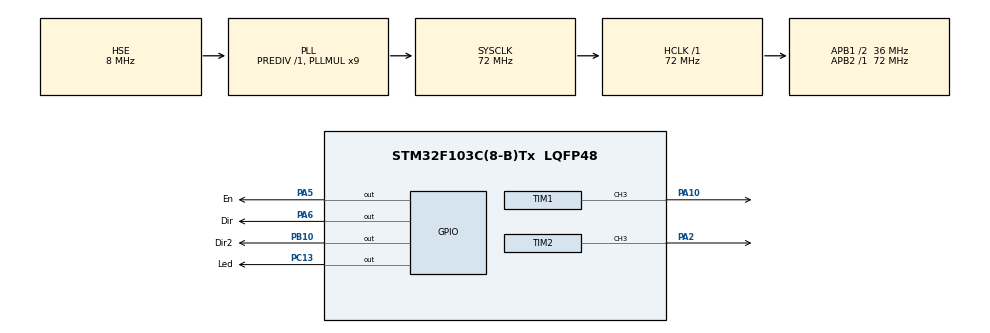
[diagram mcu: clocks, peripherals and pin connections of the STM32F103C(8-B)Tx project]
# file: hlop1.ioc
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Mcu.Family=STM32F1
Mcu.Name=STM32F103C(8-B)Tx
Mcu.Package=LQFP48
NVIC.PriorityGroup=NVIC_PRIORITYGROUP_4
NVIC.TIM1_UP_IRQn=true\:0\:0\:false\:false\:true\:true\:true\:true
NVIC.TIM2_IRQn=true\:0\:0\:false\:false\:true\:true\:true\:true
PA10.GPIO_Speed=GPIO_SPEED_FREQ_HIGH
PA10.Signal=S_TIM1_CH3
PA13.Mode=Serial_Wire
PA13.Signal=SYS_JTMS-SWDIO
PA14.Mode=Serial_Wire
PA14.Signal=SYS_JTCK-SWCLK
PA2.GPIO_Speed=GPIO_SPEED_FREQ_HIGH
PA2.Signal=S_TIM2_CH3
PA5.GPIO_Label=En
PA5.Signal=GPIO_Output
PA6.GPIO_Label=Dir
PA6.Signal=GPIO_Output
PB10.GPIO_Label=Dir2
PB10.Signal=GPIO_Output
PC13-TAMPER-RTC.GPIO_Label=Led
PC13-TAMPER-RTC.Signal=GPIO_Output
PD0-OSC_IN.Mode=HSE-External-Oscillator
PD0-OSC_IN.Signal=RCC_OSC_IN
PD1-OSC_OUT.Mode=HSE-External-Oscillator
PD1-OSC_OUT.Signal=RCC_OSC_OUT
ProjectManager.HeapSize=0x200
ProjectManager.StackSize=0x400
ProjectManager.TargetToolchain=STM32CubeIDE
RCC.AHBFreq_Value=72000000
RCC.APB1CLKDivider=RCC_HCLK_DIV2
RCC.APB1Freq_Value=36000000
RCC.APB1TimFreq_Value=72000000
RCC.APB2Freq_Value=72000000
RCC.APB2TimFreq_Value=72000000
RCC.HCLKFreq_Value=72000000
RCC.PLLMUL=RCC_PLL_MUL9
RCC.PLLSourceVirtual=RCC_PLLSOURCE_HSE
RCC.SYSCLKFreq_VALUE=72000000
RCC.SYSCLKSource=RCC_SYSCLKSOURCE_PLLCLK
RCC.USBFreq_Value=72000000
SH.S_TIM1_CH3.0=TIM1_CH3,PWM Generation3 CH3
SH.S_TIM2_CH3.0=TIM2_CH3,PWM Generation3 CH3
TIM1.Channel-PWM\ Generation3\ CH3=TIM_CHANNEL_3
TIM1.Period=1000-1
TIM1.Prescaler=8000-1
TIM2.Channel-PWM\ Generation3\ CH3=TIM_CHANNEL_3
TIM2.Period=1000-1
TIM2.Prescaler=8000-1
board=custom

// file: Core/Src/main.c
/* USER CODE BEGIN Header */
/**
 ******************************************************************************
 * @file           : main.c
 * @brief          : Main program body
 ******************************************************************************
 * @attention
 *
 * Copyright (c) 2023 STMicroelectronics.
 * All rights reserved.
 *
 * This software is licensed under terms that can be found in the LICENSE file
 * in the root directory of this software component.
 * If no LICENSE file comes with this software, it is provided AS-IS.
 *
 ******************************************************************************
 */
/* USER CODE END Header */
#include "main.h"

TIM_HandleTypeDef htim1;
TIM_HandleTypeDef htim2;

void SystemClock_Config(void);
static void MX_GPIO_Init(void);
static void MX_TIM1_Init(void);
static void MX_TIM2_Init(void);

/* USER CODE BEGIN 0 */

uint16_t step1 = 2000; //200 на оборот
uint16_t step2 = 8000; //40 оборотов
uint16_t timeAll = 40; //40 секунд //   берем мотор с більшоб кількістю кроків рауємо його час та розраховуємо швидкість імпульсів для мотора 2

int steppingyakkazavmaxim(float stepM1, float stepM2) {
	uint32_t psc_max=72; //72 мгц / 72 - 1 мегагерц = 1000 за секунду
	//числа 1, 2, 3, 4, 6, 8, 9, 12, 18, 24, 36 и 72 - Це можлива обрана максимальна швидкість для мотора з більшої кількістю кроків. Це дільник таймера
	HAL_TIM_PWM_Stop(&htim1, TIM_CHANNEL_3);
	HAL_TIM_PWM_Stop(&htim2, TIM_CHANNEL_3);
	HAL_TIM_Base_Stop_IT(&htim1);
	HAL_TIM_Base_Stop_IT(&htim2);

	//  частота шим = входящая частота / период (arr)
	//  125 000 (125 килогерц)  = 16 000 000 / 128
	// (1/60)*1000 = частота 16 (герц);
float periodM1=60;
uint32_t psc=1800;

if(stepM1>stepM2){

	htim1.Instance->PSC = psc;
	htim1.Instance->ARR = periodM1;
	htim1.Instance->CCR3 = periodM1/2;

	float delimiter= stepM1/stepM2;
	float mnoj= ceil(periodM1*delimiter);

	htim2.Instance->PSC = psc;
	htim2.Instance->ARR = mnoj;
	htim2.Instance->CCR3 = mnoj/2;

} else if (stepM1<stepM2) {
//	uint8_t delimiter=stepM2/stepM1;
//	uint16_t impMore = (72000000/psc_max)/1000; 						//імпульсів кроків за секунду для мотора з більшої кількістю кроків  КРОКІВ НА СЕКУНДУ
//	uint16_t allSecMore = (stepM2/impMore)*1000;		 				//загальний час роботи мотора із більшої кількістю кроків  мілісекунд
//	uint16_t stepSecM1 =  (stepM1/allSecMore)*1000; 					//кроків на секунду на двигуна LESS  250
//	uint16_t PSCmLess= 72000000 / (stepSecM1 * 1000); 					//дільник для мотора LESS

	htim2.Instance->PSC = psc;
	htim2.Instance->ARR = periodM1;
	htim2.Instance->CCR3 = periodM1/2;

	float delimiter= stepM2/stepM1;
	float mnoj= ceil(periodM1*delimiter);

	htim1.Instance->PSC = psc;
	htim1.Instance->ARR = mnoj;
	htim1.Instance->CCR3 = mnoj/2;

}

	//Старт таймера та переривань
	HAL_TIM_PWM_Start(&htim1, TIM_CHANNEL_3);
	HAL_TIM_PWM_Start(&htim2, TIM_CHANNEL_3);
	HAL_TIM_Base_Start_IT(&htim1);
	HAL_TIM_Base_Start_IT(&htim2);

	return 0;
}

int timetostep(int stepM1, int dir1, int stepM2, int dir2, int time, int pPulse) {
	double FREQstepM1 = 0, FREQstepM2 = 0, PSC_T1 = 0, PSC_T2 = 0;

	if (pPulse < 1 && pPulse > 100) {
		return 1;
	}

	HAL_GPIO_WritePin(En_GPIO_Port, En_Pin, GPIO_PIN_RESET);

	HAL_GPIO_WritePin(Dir_GPIO_Port, Dir_Pin, dir1);
	HAL_GPIO_WritePin(Dir2_GPIO_Port, Dir2_Pin, dir2);

	HAL_TIM_PWM_Stop(&htim1, TIM_CHANNEL_3);
	HAL_TIM_PWM_Stop(&htim2, TIM_CHANNEL_3);
	HAL_TIM_Base_Stop_IT(&htim1);
	HAL_TIM_Base_Stop_IT(&htim2);

//	if((stepM1 % time) != 0 || (stepM2 % time) != 0  ) {
//		printf("Figovu steps suka");
//		return 1;
//	} else {

	FREQstepM1 = __builtin_ceil(stepM1 / time); // шагов в сек м1
	FREQstepM2 = __builtin_ceil(stepM2 / time); //шагов в сек м2

	PSC_T1 = 72000000 / (FREQstepM1 * 1000); //дільник частоти
	PSC_T2 = 72000000 / (FREQstepM2 * 1000);

	htim1.Instance->PSC = PSC_T1;
	htim1.Instance->ARR = 1000;  //ось тут треба глянуть щоб все було добре  на осцилографі
	htim1.Instance->CCR3 = pPulse*10; //довжина імпульсу

	htim2.Instance->PSC = PSC_T2;
	htim2.Instance->ARR = 1000;
	htim2.Instance->CCR3 = pPulse*10;

	//Старт таймера та переривань
	HAL_TIM_PWM_Start(&htim1, TIM_CHANNEL_3);
	HAL_TIM_PWM_Start(&htim2, TIM_CHANNEL_3);
	HAL_TIM_Base_Start_IT(&htim1);
	HAL_TIM_Base_Start_IT(&htim2);

	return 0;
}

int cntImpulse1 = 0, cntImpulse2 = 0;
void HAL_TIM_PeriodElapsedCallback(TIM_HandleTypeDef *htim) /*CallBack, вызванный при окончании периода Ш�?М*/
{
//	if (htim->Instance == TIM1)/*Проверяем от какого таймера пришёл CallBack тут надо проверить точность*/
//	{
//		++cntImpulse1;
//
//		HAL_GPIO_TogglePin(Led_GPIO_Port, Led_Pin);
//		if (cntImpulse1 >= step1) {
//			HAL_GPIO_WritePin(En_GPIO_Port, En_Pin, GPIO_PIN_SET);
//			HAL_TIM_PWM_Stop(&htim1, TIM_CHANNEL_3);
//			HAL_TIM_Base_Stop_IT(&htim1);
//		}
//
//	} else if (htim->Instance == TIM2) {
//
//		++cntImpulse2;
//
//		if (cntImpulse1 >= step1) {
//			HAL_GPIO_WritePin(En_GPIO_Port, En_Pin, GPIO_PIN_SET);
//			HAL_TIM_PWM_Stop(&htim2, TIM_CHANNEL_3);
//			HAL_TIM_Base_Stop_IT(&htim2);
//		}
//	}
}

//void Stepper_motor(uint8_t Direction, uint8_t Steps)/*Функция управления шаговым двигателем. В функции 2 аргумента:
// 1 -- определяет направление <i>, 2 -- определяет количество шагов.*/
//{
//
//	HAL_GPIO_WritePin(En_GPIO_Port, En_Pin, GPIO_PIN_RESET);/*Разрешаем работу двигателя*/
//	switch (Direction) {/*Если переменная, определяющая направление вращения,*/
//	case 1:/*равна 1, то*/
//		HAL_GPIO_WritePin(Dir_GPIO_Port, Dir_Pin, GPIO_PIN_SET);/*включаем пин, отвечающий за направление вращения.*/
//		break;
//	default:/*Если любое другое значение, то*/
//		HAL_GPIO_WritePin(Dir_GPIO_Port, Dir_Pin, GPIO_PIN_RESET);/*отключаем пин, отвечающий за направление вращения.*/
//		break;
//	}
//	if (i < Steps)/*Если значение счётчика i меньше переменной, определяющей количество шагов,*/
//	{
//		/*то прибавим к i единицу*/
//		// pwm = 990;/*и приравняем переменную pwm к 500.*/
//	} else/*�?наче, если i будет равна переменной, определяющей количество шагов,*/
//	{
//		i = 0; /*приравниваем i к нулю,*/
//		/*Обнулим элемент массива, отвечающего за количество шагов,*/
//		pwm = 0;/*приравниваем pwm к нулю и*/
//		HAL_GPIO_WritePin(En_GPIO_Port, En_Pin, GPIO_PIN_SET);/*запрещаем работу двигателя*/
//		HAL_GPIO_TogglePin(Led_GPIO_Port, Led_Pin);
//	}
//}

/* USER CODE END 0 */

int main(void)
{

  /* MCU Configuration--------------------------------------------------------*/

  /* Reset of all peripherals, Initializes the Flash interface and the Systick. */
  HAL_Init();

  /* Configure the system clock */
  SystemClock_Config();

  /* Initialize all configured peripherals */
  MX_GPIO_Init();
  MX_TIM1_Init();
  MX_TIM2_Init();
  /* USER CODE BEGIN 2 */

  HAL_GPIO_WritePin(En_GPIO_Port,En_Pin, GPIO_PIN_RESET);
  HAL_GPIO_WritePin(Dir_GPIO_Port,Dir_Pin, GPIO_PIN_SET);
  HAL_GPIO_WritePin(Dir2_GPIO_Port,Dir2_Pin, GPIO_PIN_SET);

 // timetostep(20000, 1, 5000, 0, 40, 50);

  steppingyakkazavmaxim(5000, 10000);
  /* USER CODE END 2 */

  /* Infinite loop */
  while (1)
  {

  }
}

void SystemClock_Config(void)
{
  RCC_OscInitTypeDef RCC_OscInitStruct = {0};
  RCC_ClkInitTypeDef RCC_ClkInitStruct = {0};

  /** Initializes the RCC Oscillators according to the specified parameters
  * in the RCC_OscInitTypeDef structure.
  */
  RCC_OscInitStruct.OscillatorType = RCC_OSCILLATORTYPE_HSE;
  RCC_OscInitStruct.HSEState = RCC_HSE_ON;
  RCC_OscInitStruct.HSEPredivValue = RCC_HSE_PREDIV_DIV1;
  RCC_OscInitStruct.HSIState = RCC_HSI_ON;
  RCC_OscInitStruct.PLL.PLLState = RCC_PLL_ON;
  RCC_OscInitStruct.PLL.PLLSource = RCC_PLLSOURCE_HSE;
  RCC_OscInitStruct.PLL.PLLMUL = RCC_PLL_MUL9;
  if (HAL_RCC_OscConfig(&RCC_OscInitStruct) != HAL_OK)
  {
    Error_Handler();
  }

  /** Initializes the CPU, AHB and APB buses clocks
  */
  RCC_ClkInitStruct.ClockType = RCC_CLOCKTYPE_HCLK|RCC_CLOCKTYPE_SYSCLK
                              |RCC_CLOCKTYPE_PCLK1|RCC_CLOCKTYPE_PCLK2;
  RCC_ClkInitStruct.SYSCLKSource = RCC_SYSCLKSOURCE_PLLCLK;
  RCC_ClkInitStruct.AHBCLKDivider = RCC_SYSCLK_DIV1;
  RCC_ClkInitStruct.APB1CLKDivider = RCC_HCLK_DIV2;
  RCC_ClkInitStruct.APB2CLKDivider = RCC_HCLK_DIV1;

  if (HAL_RCC_ClockConfig(&RCC_ClkInitStruct, FLASH_LATENCY_2) != HAL_OK)
  {
    Error_Handler();
  }
}

static void MX_TIM1_Init(void)
{

  TIM_MasterConfigTypeDef sMasterConfig = {0};
  TIM_OC_InitTypeDef sConfigOC = {0};
  TIM_BreakDeadTimeConfigTypeDef sBreakDeadTimeConfig = {0};

  htim1.Instance = TIM1;
  htim1.Init.Prescaler = 8000-1;
  htim1.Init.CounterMode = TIM_COUNTERMODE_UP;
  htim1.Init.Period = 1000-1;
  htim1.Init.ClockDivision = TIM_CLOCKDIVISION_DIV1;
  htim1.Init.RepetitionCounter = 0;
  htim1.Init.AutoReloadPreload = TIM_AUTORELOAD_PRELOAD_DISABLE;
  if (HAL_TIM_PWM_Init(&htim1) != HAL_OK)
  {
    Error_Handler();
  }
  sMasterConfig.MasterOutputTrigger = TIM_TRGO_RESET;
  sMasterConfig.MasterSlaveMode = TIM_MASTERSLAVEMODE_DISABLE;
  if (HAL_TIMEx_MasterConfigSynchronization(&htim1, &sMasterConfig) != HAL_OK)
  {
    Error_Handler();
  }
  sConfigOC.OCMode = TIM_OCMODE_PWM1;
  sConfigOC.Pulse = 0;
  sConfigOC.OCPolarity = TIM_OCPOLARITY_HIGH;
  sConfigOC.OCNPolarity = TIM_OCNPOLARITY_HIGH;
  sConfigOC.OCFastMode = TIM_OCFAST_DISABLE;
  sConfigOC.OCIdleState = TIM_OCIDLESTATE_RESET;
  sConfigOC.OCNIdleState = TIM_OCNIDLESTATE_RESET;
  if (HAL_TIM_PWM_ConfigChannel(&htim1, &sConfigOC, TIM_CHANNEL_3) != HAL_OK)
  {
    Error_Handler();
  }
  sBreakDeadTimeConfig.OffStateRunMode = TIM_OSSR_DISABLE;
  sBreakDeadTimeConfig.OffStateIDLEMode = TIM_OSSI_DISABLE;
  sBreakDeadTimeConfig.LockLevel = TIM_LOCKLEVEL_OFF;
  sBreakDeadTimeConfig.DeadTime = 0;
  sBreakDeadTimeConfig.BreakState = TIM_BREAK_DISABLE;
  sBreakDeadTimeConfig.BreakPolarity = TIM_BREAKPOLARITY_HIGH;
  sBreakDeadTimeConfig.AutomaticOutput = TIM_AUTOMATICOUTPUT_DISABLE;
  if (HAL_TIMEx_ConfigBreakDeadTime(&htim1, &sBreakDeadTimeConfig) != HAL_OK)
  {
    Error_Handler();
  }
  HAL_TIM_MspPostInit(&htim1);

}

static void MX_TIM2_Init(void)
{

  TIM_MasterConfigTypeDef sMasterConfig = {0};
  TIM_OC_InitTypeDef sConfigOC = {0};

  htim2.Instance = TIM2;
  htim2.Init.Prescaler = 8000-1;
  htim2.Init.CounterMode = TIM_COUNTERMODE_UP;
  htim2.Init.Period = 1000-1;
  htim2.Init.ClockDivision = TIM_CLOCKDIVISION_DIV1;
  htim2.Init.AutoReloadPreload = TIM_AUTORELOAD_PRELOAD_DISABLE;
  if (HAL_TIM_PWM_Init(&htim2) != HAL_OK)
  {
    Error_Handler();
  }
  sMasterConfig.MasterOutputTrigger = TIM_TRGO_RESET;
  sMasterConfig.MasterSlaveMode = TIM_MASTERSLAVEMODE_DISABLE;
  if (HAL_TIMEx_MasterConfigSynchronization(&htim2, &sMasterConfig) != HAL_OK)
  {
    Error_Handler();
  }
  sConfigOC.OCMode = TIM_OCMODE_PWM1;
  sConfigOC.Pulse = 0;
  sConfigOC.OCPolarity = TIM_OCPOLARITY_HIGH;
  sConfigOC.OCFastMode = TIM_OCFAST_DISABLE;
  if (HAL_TIM_PWM_ConfigChannel(&htim2, &sConfigOC, TIM_CHANNEL_3) != HAL_OK)
  {
    Error_Handler();
  }
  HAL_TIM_MspPostInit(&htim2);

}

static void MX_GPIO_Init(void)
{
  GPIO_InitTypeDef GPIO_InitStruct = {0};

  /* GPIO Ports Clock Enable */
  __HAL_RCC_GPIOC_CLK_ENABLE();
  __HAL_RCC_GPIOD_CLK_ENABLE();
  __HAL_RCC_GPIOA_CLK_ENABLE();
  __HAL_RCC_GPIOB_CLK_ENABLE();

  /*Configure GPIO pin Output Level */
  HAL_GPIO_WritePin(Led_GPIO_Port, Led_Pin, GPIO_PIN_RESET);

  /*Configure GPIO pin Output Level */
  HAL_GPIO_WritePin(GPIOA, En_Pin|Dir_Pin, GPIO_PIN_RESET);

  /*Configure GPIO pin Output Level */
  HAL_GPIO_WritePin(Dir2_GPIO_Port, Dir2_Pin, GPIO_PIN_RESET);

  /*Configure GPIO pin : Led_Pin */
  GPIO_InitStruct.Pin = Led_Pin;
  GPIO_InitStruct.Mode = GPIO_MODE_OUTPUT_PP;
  GPIO_InitStruct.Pull = GPIO_NOPULL;
  GPIO_InitStruct.Speed = GPIO_SPEED_FREQ_LOW;
  HAL_GPIO_Init(Led_GPIO_Port, &GPIO_InitStruct);

  /*Configure GPIO pins : En_Pin Dir_Pin */
  GPIO_InitStruct.Pin = En_Pin|Dir_Pin;
  GPIO_InitStruct.Mode = GPIO_MODE_OUTPUT_PP;
  GPIO_InitStruct.Pull = GPIO_NOPULL;
  GPIO_InitStruct.Speed = GPIO_SPEED_FREQ_LOW;
  HAL_GPIO_Init(GPIOA, &GPIO_InitStruct);

  /*Configure GPIO pin : Dir2_Pin */
  GPIO_InitStruct.Pin = Dir2_Pin;
  GPIO_InitStruct.Mode = GPIO_MODE_OUTPUT_PP;
  GPIO_InitStruct.Pull = GPIO_NOPULL;
  GPIO_InitStruct.Speed = GPIO_SPEED_FREQ_LOW;
  HAL_GPIO_Init(Dir2_GPIO_Port, &GPIO_InitStruct);

}

void Error_Handler(void)
{
	__disable_irq();
	while (1) {
	}
}
